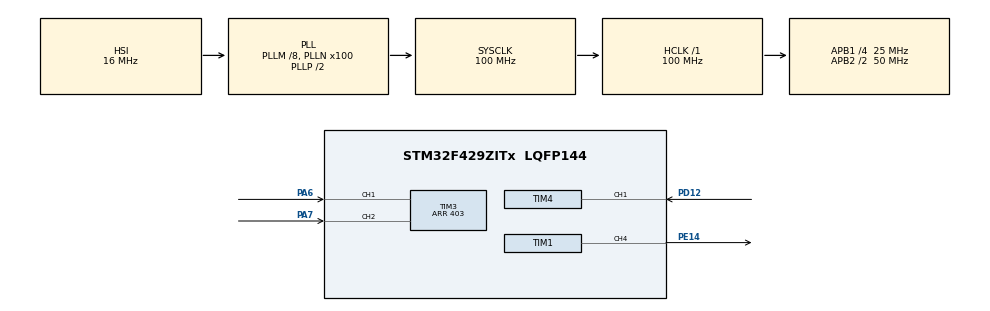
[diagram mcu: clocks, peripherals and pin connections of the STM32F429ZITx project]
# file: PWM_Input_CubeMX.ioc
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Dma.Request0=TIM1_CH4/TRIG/COM
Dma.TIM1_CH4/TRIG/COM.0.Direction=DMA_MEMORY_TO_PERIPH
Dma.TIM1_CH4/TRIG/COM.0.FIFOMode=DMA_FIFOMODE_DISABLE
Dma.TIM1_CH4/TRIG/COM.0.Instance=DMA2_Stream4
Dma.TIM1_CH4/TRIG/COM.0.MemDataAlignment=DMA_MDATAALIGN_HALFWORD
Dma.TIM1_CH4/TRIG/COM.0.MemInc=DMA_MINC_ENABLE
Dma.TIM1_CH4/TRIG/COM.0.Mode=DMA_CIRCULAR
Dma.TIM1_CH4/TRIG/COM.0.PeriphDataAlignment=DMA_PDATAALIGN_HALFWORD
Dma.TIM1_CH4/TRIG/COM.0.PeriphInc=DMA_PINC_DISABLE
Dma.TIM1_CH4/TRIG/COM.0.Priority=DMA_PRIORITY_LOW
Mcu.Family=STM32F4
Mcu.Name=STM32F429ZITx
Mcu.Package=LQFP144
NVIC.DMA2_Stream4_IRQn=true\:0\:0\:false\:false\:true\:false
NVIC.PriorityGroup=NVIC_PRIORITYGROUP_4
PA6.GPIO_PuPd=GPIO_PULLUP
PA6.Signal=S_TIM3_CH1
PA7.GPIO_PuPd=GPIO_PULLUP
PA7.Signal=S_TIM3_CH2
PD12.Signal=S_TIM4_CH1
PE14.Signal=S_TIM1_CH4
ProjectManager.HeapSize=0x200
ProjectManager.StackSize=0x400
ProjectManager.TargetToolchain=SW4STM32
RCC.48MHZClocksFreq_Value=50000000
RCC.AHBFreq_Value=100000000
RCC.APB1CLKDivider=RCC_HCLK_DIV4
RCC.APB1Freq_Value=25000000
RCC.APB1TimFreq_Value=50000000
RCC.APB2CLKDivider=RCC_HCLK_DIV2
RCC.APB2Freq_Value=50000000
RCC.APB2TimFreq_Value=100000000
RCC.CortexFreq_Value=100000000
RCC.HCLKFreq_Value=100000000
RCC.HSE_VALUE=25000000
RCC.HSI_VALUE=16000000
RCC.LSE_VALUE=32768
RCC.PLLM=8
RCC.PLLN=100
RCC.SYSCLKFreq_VALUE=100000000
RCC.SYSCLKSource=RCC_SYSCLKSOURCE_PLLCLK
RCC.VCOOutputFreq_Value=200000000
SH.S_TIM1_CH4.0=TIM1_CH4,PWM Generation4 CH4
SH.S_TIM3_CH1.0=TIM3_CH1,Encoder_Interface
SH.S_TIM3_CH2.0=TIM3_CH2,Encoder_Interface
SH.S_TIM4_CH1.0=TIM4_CH1,PWM_Input_1
TIM1.Channel-PWM\ Generation4\ CH4=TIM_CHANNEL_4
TIM1.Period=99
TIM1.Prescaler=9999
TIM1.Pulse-PWM\ Generation4\ CH4=50
TIM3.EncoderMode=TIM_ENCODERMODE_TI12
TIM3.IC1Filter=15
TIM3.IC1Polarity=TIM_ICPOLARITY_FALLING
TIM3.IC2Filter=15
TIM3.IC2Polarity=TIM_ICPOLARITY_FALLING
TIM3.Period=403
TIM4.Period=1999
TIM4.Prescaler=499
VP_TIM1_VS_ClockSourceINT.Mode=Internal
VP_TIM4_VS_ClockSourceINT.Mode=Internal
board=custom

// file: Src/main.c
/**
  ******************************************************************************
  * @file           : main.c
  * @brief          : Main program body
  ******************************************************************************
  ** This notice applies to any and all portions of this file
  * that are not between comment pairs USER CODE BEGIN and
  * USER CODE END. Other portions of this file, whether
  * inserted by the user or by software development tools
  * are owned by their respective copyright owners.
  *
  * COPYRIGHT(c) 2018 STMicroelectronics
  *
  * Redistribution and use in source and binary forms, with or without modification,
  * are permitted provided that the following conditions are met:
  *   1. Redistributions of source code must retain the above copyright notice,
  *      this list of conditions and the following disclaimer.
  *   2. Redistributions in binary form must reproduce the above copyright notice,
  *      this list of conditions and the following disclaimer in the documentation
  *      and/or other materials provided with the distribution.
  *   3. Neither the name of STMicroelectronics nor the names of its contributors
  *      may be used to endorse or promote products derived from this software
  *      without specific prior written permission.
  *
  * THIS SOFTWARE IS PROVIDED BY THE COPYRIGHT HOLDERS AND CONTRIBUTORS "AS IS"
  * AND ANY EXPRESS OR IMPLIED WARRANTIES, INCLUDING, BUT NOT LIMITED TO, THE
  * IMPLIED WARRANTIES OF MERCHANTABILITY AND FITNESS FOR A PARTICULAR PURPOSE ARE
  * DISCLAIMED. IN NO EVENT SHALL THE COPYRIGHT HOLDER OR CONTRIBUTORS BE LIABLE
  * FOR ANY DIRECT, INDIRECT, INCIDENTAL, SPECIAL, EXEMPLARY, OR CONSEQUENTIAL
  * DAMAGES (INCLUDING, BUT NOT LIMITED TO, PROCUREMENT OF SUBSTITUTE GOODS OR
  * SERVICES; LOSS OF USE, DATA, OR PROFITS; OR BUSINESS INTERRUPTION) HOWEVER
  * CAUSED AND ON ANY THEORY OF LIABILITY, WHETHER IN CONTRACT, STRICT LIABILITY,
  * OR TORT (INCLUDING NEGLIGENCE OR OTHERWISE) ARISING IN ANY WAY OUT OF THE USE
  * OF THIS SOFTWARE, EVEN IF ADVISED OF THE POSSIBILITY OF SUCH DAMAGE.
  *
  ******************************************************************************
  */
#include "main.h"
#include "stm32f4xx_hal.h"

TIM_HandleTypeDef htim1;
TIM_HandleTypeDef htim3;
TIM_HandleTypeDef htim4;
DMA_HandleTypeDef hdma_tim1_ch4_trig_com;

/* USER CODE BEGIN PV */
/* Private variables ---------------------------------------------------------*/
uint32_t Duty = 0;
volatile uint16_t InputPWMPeriod_cycles;
volatile uint16_t InputPWMPeriod_ms;
volatile uint16_t InputPWMDuty_cycles;
volatile uint16_t InputPWMDuty_percent;

const uint16_t InputTimerResolution_cycles = 2000;			// Rozdzielczosc zegara odczytujacego sygnal
const uint16_t InputTimerPeriodDuration_ms = 20;			// okres timera odczytujacego sygnal

volatile uint16_t pulse_count;
/* USER CODE END PV */

void SystemClock_Config(void);
static void MX_GPIO_Init(void);
static void MX_DMA_Init(void);
static void MX_TIM4_Init(void);
static void MX_TIM1_Init(void);
static void MX_TIM3_Init(void);
void HAL_TIM_MspPostInit(TIM_HandleTypeDef *htim);

/* USER CODE BEGIN PFP */
/* Private function prototypes -----------------------------------------------*/

/* USER CODE END PFP */

int main(void)
{

  /* MCU Configuration----------------------------------------------------------*/

  /* Reset of all peripherals, Initializes the Flash interface and the Systick. */
  HAL_Init();

  /* Configure the system clock */
  SystemClock_Config();

  /* Initialize all configured peripherals */
  MX_GPIO_Init();
  MX_DMA_Init();
  MX_TIM4_Init();
  MX_TIM1_Init();
  MX_TIM3_Init();
  /* USER CODE BEGIN 2 */
  HAL_TIM_PWM_Start_DMA(&htim1, TIM_CHANNEL_4, &Duty, 1);		// pwm out
  HAL_TIM_Encoder_Start(&htim3, TIM_CHANNEL_ALL);				// encoder
  HAL_TIM_IC_Start(&htim4, TIM_CHANNEL_1);
  HAL_TIM_IC_Start(&htim4, TIM_CHANNEL_2);						// 1 for duty, 2 for period
  /* USER CODE END 2 */

  /* Infinite loop */
  /* USER CODE BEGIN WHILE */
  while (1)
  {
	  pulse_count = (TIM3->CNT) / 4;
	  Duty = pulse_count;

	  InputPWMPeriod_cycles = HAL_TIM_ReadCapturedValue(&htim4, TIM_CHANNEL_1) + 1;
	  InputPWMDuty_cycles = HAL_TIM_ReadCapturedValue(&htim4, TIM_CHANNEL_2);

	  InputPWMPeriod_ms = ((InputPWMPeriod_cycles * InputTimerPeriodDuration_ms) / InputTimerResolution_cycles);

	  InputPWMDuty_percent = (InputPWMDuty_cycles * 100) / InputPWMPeriod_cycles;

  /* USER CODE END WHILE */

  }

}

void SystemClock_Config(void)
{

  RCC_OscInitTypeDef RCC_OscInitStruct;
  RCC_ClkInitTypeDef RCC_ClkInitStruct;

    /**Configure the main internal regulator output voltage
    */
  __HAL_RCC_PWR_CLK_ENABLE();

  __HAL_PWR_VOLTAGESCALING_CONFIG(PWR_REGULATOR_VOLTAGE_SCALE3);

    /**Initializes the CPU, AHB and APB busses clocks
    */
  RCC_OscInitStruct.OscillatorType = RCC_OSCILLATORTYPE_HSI;
  RCC_OscInitStruct.HSIState = RCC_HSI_ON;
  RCC_OscInitStruct.HSICalibrationValue = 16;
  RCC_OscInitStruct.PLL.PLLState = RCC_PLL_ON;
  RCC_OscInitStruct.PLL.PLLSource = RCC_PLLSOURCE_HSI;
  RCC_OscInitStruct.PLL.PLLM = 8;
  RCC_OscInitStruct.PLL.PLLN = 100;
  RCC_OscInitStruct.PLL.PLLP = RCC_PLLP_DIV2;
  RCC_OscInitStruct.PLL.PLLQ = 4;
  if (HAL_RCC_OscConfig(&RCC_OscInitStruct) != HAL_OK)
  {
    _Error_Handler(__FILE__, __LINE__);
  }

    /**Initializes the CPU, AHB and APB busses clocks
    */
  RCC_ClkInitStruct.ClockType = RCC_CLOCKTYPE_HCLK|RCC_CLOCKTYPE_SYSCLK
                              |RCC_CLOCKTYPE_PCLK1|RCC_CLOCKTYPE_PCLK2;
  RCC_ClkInitStruct.SYSCLKSource = RCC_SYSCLKSOURCE_PLLCLK;
  RCC_ClkInitStruct.AHBCLKDivider = RCC_SYSCLK_DIV1;
  RCC_ClkInitStruct.APB1CLKDivider = RCC_HCLK_DIV4;
  RCC_ClkInitStruct.APB2CLKDivider = RCC_HCLK_DIV2;

  if (HAL_RCC_ClockConfig(&RCC_ClkInitStruct, FLASH_LATENCY_3) != HAL_OK)
  {
    _Error_Handler(__FILE__, __LINE__);
  }

    /**Configure the Systick interrupt time
    */
  HAL_SYSTICK_Config(HAL_RCC_GetHCLKFreq()/1000);

    /**Configure the Systick
    */
  HAL_SYSTICK_CLKSourceConfig(SYSTICK_CLKSOURCE_HCLK);

  /* SysTick_IRQn interrupt configuration */
  HAL_NVIC_SetPriority(SysTick_IRQn, 0, 0);
}

/* TIM1 init function */
static void MX_TIM1_Init(void)
{

  TIM_ClockConfigTypeDef sClockSourceConfig;
  TIM_MasterConfigTypeDef sMasterConfig;
  TIM_OC_InitTypeDef sConfigOC;
  TIM_BreakDeadTimeConfigTypeDef sBreakDeadTimeConfig;

  htim1.Instance = TIM1;
  htim1.Init.Prescaler = 9999;
  htim1.Init.CounterMode = TIM_COUNTERMODE_UP;
  htim1.Init.Period = 99;
  htim1.Init.ClockDivision = TIM_CLOCKDIVISION_DIV1;
  htim1.Init.RepetitionCounter = 0;
  if (HAL_TIM_Base_Init(&htim1) != HAL_OK)
  {
    _Error_Handler(__FILE__, __LINE__);
  }

  sClockSourceConfig.ClockSource = TIM_CLOCKSOURCE_INTERNAL;
  if (HAL_TIM_ConfigClockSource(&htim1, &sClockSourceConfig) != HAL_OK)
  {
    _Error_Handler(__FILE__, __LINE__);
  }

  if (HAL_TIM_PWM_Init(&htim1) != HAL_OK)
  {
    _Error_Handler(__FILE__, __LINE__);
  }

  sMasterConfig.MasterOutputTrigger = TIM_TRGO_RESET;
  sMasterConfig.MasterSlaveMode = TIM_MASTERSLAVEMODE_DISABLE;
  if (HAL_TIMEx_MasterConfigSynchronization(&htim1, &sMasterConfig) != HAL_OK)
  {
    _Error_Handler(__FILE__, __LINE__);
  }

  sConfigOC.OCMode = TIM_OCMODE_PWM1;
  sConfigOC.Pulse = 50;
  sConfigOC.OCPolarity = TIM_OCPOLARITY_HIGH;
  sConfigOC.OCFastMode = TIM_OCFAST_DISABLE;
  sConfigOC.OCIdleState = TIM_OCIDLESTATE_RESET;
  sConfigOC.OCNIdleState = TIM_OCNIDLESTATE_RESET;
  if (HAL_TIM_PWM_ConfigChannel(&htim1, &sConfigOC, TIM_CHANNEL_4) != HAL_OK)
  {
    _Error_Handler(__FILE__, __LINE__);
  }

  sBreakDeadTimeConfig.OffStateRunMode = TIM_OSSR_DISABLE;
  sBreakDeadTimeConfig.OffStateIDLEMode = TIM_OSSI_DISABLE;
  sBreakDeadTimeConfig.LockLevel = TIM_LOCKLEVEL_OFF;
  sBreakDeadTimeConfig.DeadTime = 0;
  sBreakDeadTimeConfig.BreakState = TIM_BREAK_DISABLE;
  sBreakDeadTimeConfig.BreakPolarity = TIM_BREAKPOLARITY_HIGH;
  sBreakDeadTimeConfig.AutomaticOutput = TIM_AUTOMATICOUTPUT_DISABLE;
  if (HAL_TIMEx_ConfigBreakDeadTime(&htim1, &sBreakDeadTimeConfig) != HAL_OK)
  {
    _Error_Handler(__FILE__, __LINE__);
  }

  HAL_TIM_MspPostInit(&htim1);

}

/* TIM3 init function */
static void MX_TIM3_Init(void)
{

  TIM_Encoder_InitTypeDef sConfig;
  TIM_MasterConfigTypeDef sMasterConfig;

  htim3.Instance = TIM3;
  htim3.Init.Prescaler = 0;
  htim3.Init.CounterMode = TIM_COUNTERMODE_UP;
  htim3.Init.Period = 403;
  htim3.Init.ClockDivision = TIM_CLOCKDIVISION_DIV1;
  sConfig.EncoderMode = TIM_ENCODERMODE_TI12;
  sConfig.IC1Polarity = TIM_ICPOLARITY_FALLING;
  sConfig.IC1Selection = TIM_ICSELECTION_DIRECTTI;
  sConfig.IC1Prescaler = TIM_ICPSC_DIV1;
  sConfig.IC1Filter = 15;
  sConfig.IC2Polarity = TIM_ICPOLARITY_FALLING;
  sConfig.IC2Selection = TIM_ICSELECTION_DIRECTTI;
  sConfig.IC2Prescaler = TIM_ICPSC_DIV1;
  sConfig.IC2Filter = 15;
  if (HAL_TIM_Encoder_Init(&htim3, &sConfig) != HAL_OK)
  {
    _Error_Handler(__FILE__, __LINE__);
  }

  sMasterConfig.MasterOutputTrigger = TIM_TRGO_RESET;
  sMasterConfig.MasterSlaveMode = TIM_MASTERSLAVEMODE_DISABLE;
  if (HAL_TIMEx_MasterConfigSynchronization(&htim3, &sMasterConfig) != HAL_OK)
  {
    _Error_Handler(__FILE__, __LINE__);
  }

}

/* TIM4 init function */
static void MX_TIM4_Init(void)
{

  TIM_ClockConfigTypeDef sClockSourceConfig;
  TIM_SlaveConfigTypeDef sSlaveConfig;
  TIM_IC_InitTypeDef sConfigIC;
  TIM_MasterConfigTypeDef sMasterConfig;

  htim4.Instance = TIM4;
  htim4.Init.Prescaler = 499;
  htim4.Init.CounterMode = TIM_COUNTERMODE_UP;
  htim4.Init.Period = 1999;
  htim4.Init.ClockDivision = TIM_CLOCKDIVISION_DIV1;
  if (HAL_TIM_Base_Init(&htim4) != HAL_OK)
  {
    _Error_Handler(__FILE__, __LINE__);
  }

  sClockSourceConfig.ClockSource = TIM_CLOCKSOURCE_INTERNAL;
  if (HAL_TIM_ConfigClockSource(&htim4, &sClockSourceConfig) != HAL_OK)
  {
    _Error_Handler(__FILE__, __LINE__);
  }

  if (HAL_TIM_IC_Init(&htim4) != HAL_OK)
  {
    _Error_Handler(__FILE__, __LINE__);
  }

  sSlaveConfig.SlaveMode = TIM_SLAVEMODE_RESET;
  sSlaveConfig.InputTrigger = TIM_TS_TI1FP1;
  sSlaveConfig.TriggerPolarity = TIM_INPUTCHANNELPOLARITY_RISING;
  sSlaveConfig.TriggerPrescaler = TIM_ICPSC_DIV1;
  sSlaveConfig.TriggerFilter = 0;
  if (HAL_TIM_SlaveConfigSynchronization(&htim4, &sSlaveConfig) != HAL_OK)
  {
    _Error_Handler(__FILE__, __LINE__);
  }

  sConfigIC.ICPolarity = TIM_INPUTCHANNELPOLARITY_RISING;
  sConfigIC.ICSelection = TIM_ICSELECTION_DIRECTTI;
  sConfigIC.ICPrescaler = TIM_ICPSC_DIV1;
  sConfigIC.ICFilter = 0;
  if (HAL_TIM_IC_ConfigChannel(&htim4, &sConfigIC, TIM_CHANNEL_1) != HAL_OK)
  {
    _Error_Handler(__FILE__, __LINE__);
  }

  sConfigIC.ICPolarity = TIM_INPUTCHANNELPOLARITY_FALLING;
  sConfigIC.ICSelection = TIM_ICSELECTION_INDIRECTTI;
  if (HAL_TIM_IC_ConfigChannel(&htim4, &sConfigIC, TIM_CHANNEL_2) != HAL_OK)
  {
    _Error_Handler(__FILE__, __LINE__);
  }

  sMasterConfig.MasterOutputTrigger = TIM_TRGO_RESET;
  sMasterConfig.MasterSlaveMode = TIM_MASTERSLAVEMODE_DISABLE;
  if (HAL_TIMEx_MasterConfigSynchronization(&htim4, &sMasterConfig) != HAL_OK)
  {
    _Error_Handler(__FILE__, __LINE__);
  }

}

static void MX_DMA_Init(void)
{
  /* DMA controller clock enable */
  __HAL_RCC_DMA2_CLK_ENABLE();

  /* DMA interrupt init */
  /* DMA2_Stream4_IRQn interrupt configuration */
  HAL_NVIC_SetPriority(DMA2_Stream4_IRQn, 0, 0);
  HAL_NVIC_EnableIRQ(DMA2_Stream4_IRQn);

}

/** Pinout Configuration
*/
static void MX_GPIO_Init(void)
{

  /* GPIO Ports Clock Enable */
  __HAL_RCC_GPIOA_CLK_ENABLE();
  __HAL_RCC_GPIOE_CLK_ENABLE();
  __HAL_RCC_GPIOD_CLK_ENABLE();

}

void _Error_Handler(char *file, int line)
{
  while(1)
  {
  }
}

/************************ (C) COPYRIGHT STMicroelectronics *****END OF FILE****/
